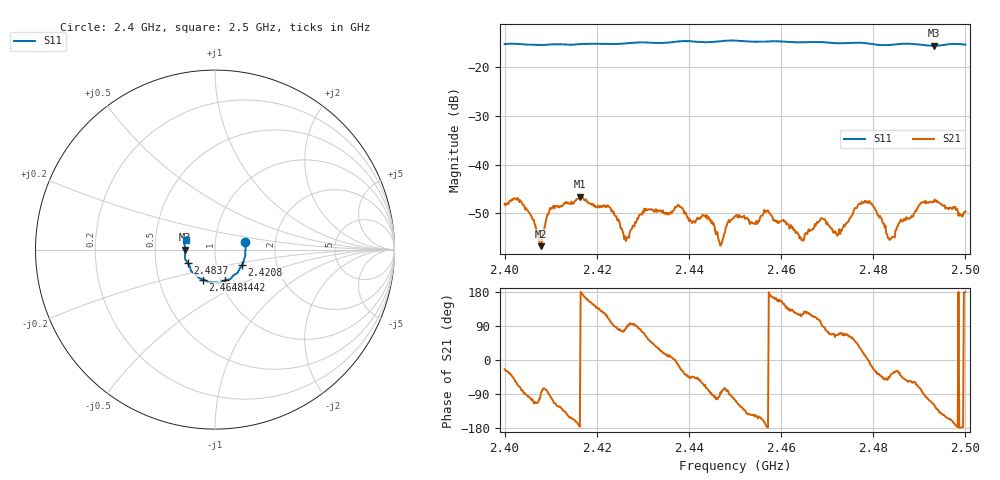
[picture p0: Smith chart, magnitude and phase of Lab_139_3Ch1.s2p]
# Hz S RI R 50
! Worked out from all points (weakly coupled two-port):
!   601 points, 2.4 GHz to 2.5 GHz, reference 50 ohm
!   highest |S21| = -46.57 dB at 2.4163 GHz (marker M1); lowest = -56.8 dB at 2.4078 GHz (marker M2)
!   lowest |S11| = -15.6 dB at 2.4932 GHz (marker M3), VSWR 1.40, Z = 35.8 - j0.0755 ohm
!   |S11| at or under -10 dB: start of sweep to end of sweep
!   S12 and S22 are empty: the file has one direction only
!   S11 on the Smith chart (normalised r, x): 2.4 GHz: 1.40, +0.12; 2.4208 GHz: 1.33, -0.24; 2.4442 GHz: 1.05, -0.37; 2.4648 GHz: 0.83, -0.29; 2.4837 GHz: 0.73, -0.11; 2.5 GHz: 0.72, +0.08
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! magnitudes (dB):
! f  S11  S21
! 2.4 GHz  -15.3  -48.0
! 2.4033 GHz  -15.3  -47.3
! 2.4078 GHz  -15.4  -56.8
! 2.4102 GHz  -15.3  -48.9
! 2.4163 GHz  -15.3  -46.6
! 2.4167 GHz  -15.2  -46.6
! 2.4208 GHz  -15.2  -48.6
! 2.4265 GHz  -15.1  -55.1
! 2.4333 GHz  -15.0  -49.5
! 2.4442 GHz  -14.9  -50.7
! 2.4468 GHz  -14.7  -56.7
! 2.45 GHz  -14.5  -50.7
! 2.4568 GHz  -14.7  -49.5
! 2.4648 GHz  -14.9  -55.6
! 2.4667 GHz  -14.8  -53.4
! 2.469 GHz  -14.9  -51.1
! 2.4725 GHz  -15.1  -54.1
! 2.4787 GHz  -15.1  -47.6
! 2.4833 GHz  -15.5  -55.1
! 2.4837 GHz  -15.4  -55.4
! 2.4932 GHz  -15.6  -47.7
! 2.5 GHz  -15.4  -49.6
